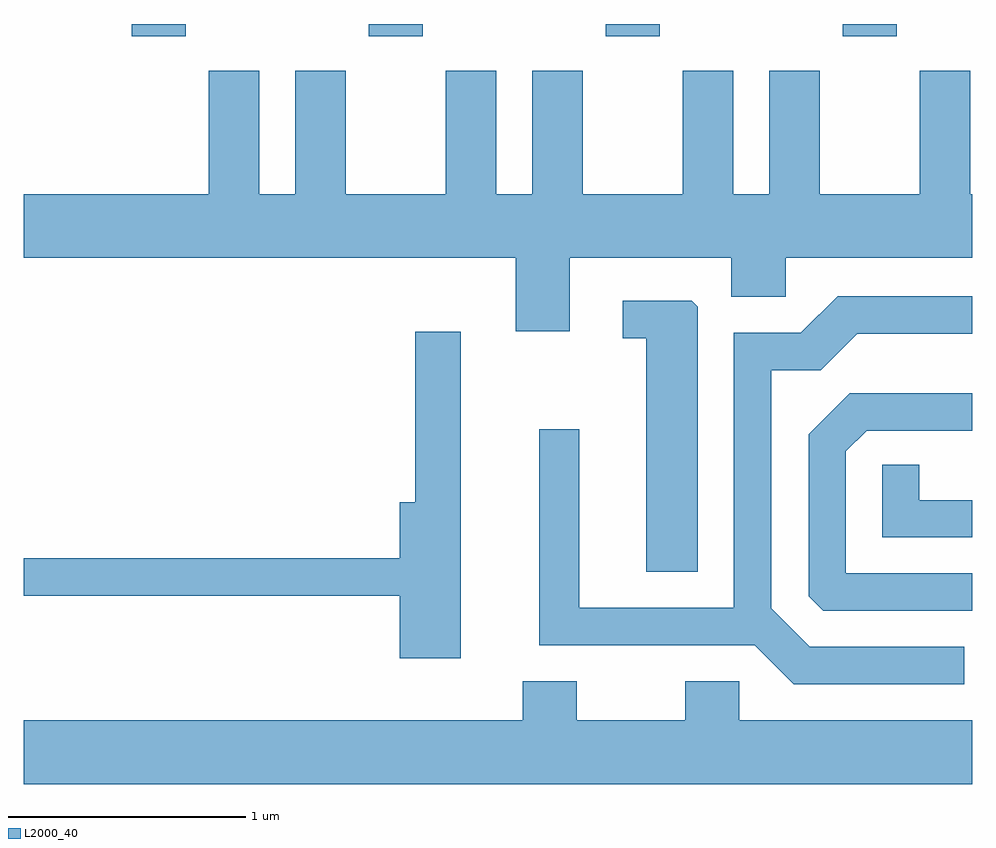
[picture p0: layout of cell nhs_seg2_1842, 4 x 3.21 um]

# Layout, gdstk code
import gdstk
lib = gdstk.Library(unit=1e-6, precision=1e-09)
def R(c, l, rs):  # rectangles x0, y0, x1, y1
    for r in rs: c.add(gdstk.rectangle(r[:2], r[2:], *l))
def A(c, l, x, y, w, h, nx, ny, dx, dy):  # array of equal rectangles
    R(c, l, [(x+i*dx, y+j*dy, x+i*dx+w, y+j*dy+h) for i in range(nx) for j in range(ny)])
def P(c, l, *ps):  # polygons
    for p in ps: c.add(gdstk.Polygon(p, *l))
L2000_40 = (2000, 40)

nhs_seg2_1842 = lib.new_cell('nhs_seg2_1842')
A(nhs_seg2_1842, L2000_40, 240.066, 993.751, 0.228, 0.051, 4, 1, 1, 0)
P(nhs_seg2_1842, L2000_40, [(242.391,993.084),(241.969,993.084),(241.969,993.604),(241.756,993.604),(241.756,993.084),(241.604,993.084),(241.604,993.604),(241.391,993.604),(241.391,993.084),(240.969,993.084),(240.969,993.604),(240.756,993.604),(240.756,993.084),(240.604,993.084),(240.604,993.604),(240.391,993.604),(240.391,993.084),(239.611,993.084),(239.611,992.816),(241.686,992.816),(241.686,992.506),(241.914,992.506),(241.914,992.816),(242.596,992.816),(242.596,992.651),(242.824,992.651),(242.824,992.816),(243.611,992.816),(243.611,993.084),(243.604,993.084),(243.604,993.604),(243.391,993.604),(243.391,993.084),(242.969,993.084),(242.969,993.604),(242.756,993.604),(242.756,993.084),(242.604,993.084),(242.604,993.604),(242.391,993.604)],
  [(243.578,991.174),(242.927,991.174),(242.764,991.337),(242.764,992.341),(242.972,992.341),(243.127,992.496),(243.611,992.496),(243.611,992.654),(243.044,992.654),(242.889,992.499),(242.606,992.499),(242.606,991.339),(241.954,991.339),(241.954,992.093),(241.786,992.093),(241.786,991.181),(242.694,991.181),(242.859,991.016),(243.578,991.016)],
  [(242.454,992.609),(242.429,992.634),(242.138,992.634),(242.138,992.476),(242.236,992.476),(242.236,991.491),(242.454,991.491)],
  [(241.454,992.504),(241.261,992.504),(241.261,991.784),(241.196,991.784),(241.196,991.549),(239.611,991.549),(239.611,991.391),(241.196,991.391),(241.196,991.126),(241.454,991.126)],
  [(243.611,991.484),(243.079,991.484),(243.079,991.999),(243.167,992.086),(243.611,992.086),(243.611,992.244),(243.094,992.244),(242.921,992.072),(242.921,991.387),(242.982,991.326),(243.611,991.326)],
  [(243.611,991.794),(243.389,991.794),(243.389,991.943),(243.231,991.943),(243.231,991.636),(243.611,991.636)],
  [(243.611,990.864),(242.629,990.864),(242.629,991.029),(242.401,991.029),(242.401,990.864),(241.944,990.864),(241.944,991.029),(241.716,991.029),(241.716,990.864),(239.611,990.864),(239.611,990.596),(243.611,990.596)])

lib.write_gds('nhs_seg2_1842.gds')
